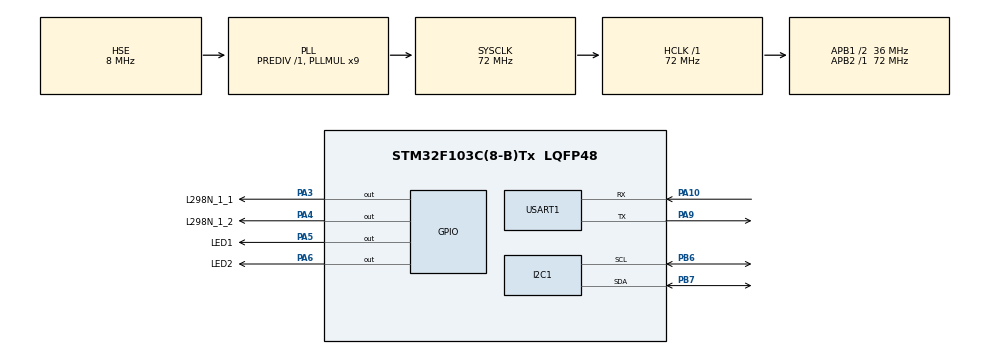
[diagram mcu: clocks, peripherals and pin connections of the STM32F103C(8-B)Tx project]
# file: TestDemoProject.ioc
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Mcu.Family=STM32F1
Mcu.Name=STM32F103C(8-B)Tx
Mcu.Package=LQFP48
NVIC.PriorityGroup=NVIC_PRIORITYGROUP_4
NVIC.USART1_IRQn=true\:0\:0\:false\:false\:true\:true\:true\:true
PA10.Mode=Asynchronous
PA10.Signal=USART1_RX
PA13.Mode=Serial_Wire
PA13.Signal=SYS_JTMS-SWDIO
PA14.Mode=Serial_Wire
PA14.Signal=SYS_JTCK-SWCLK
PA3.GPIO_Label=L298N_1_1
PA3.GPIO_PuPd=GPIO_PULLUP
PA3.Signal=GPIO_Output
PA4.GPIO_Label=L298N_1_2
PA4.GPIO_PuPd=GPIO_PULLUP
PA4.Signal=GPIO_Output
PA5.GPIO_Label=LED1
PA5.Signal=GPIO_Output
PA6.GPIO_Label=LED2
PA6.Signal=GPIO_Output
PA9.Mode=Asynchronous
PA9.Signal=USART1_TX
PB6.Mode=I2C
PB6.Signal=I2C1_SCL
PB7.Mode=I2C
PB7.Signal=I2C1_SDA
PC14-OSC32_IN.Mode=LSE-External-Oscillator
PC14-OSC32_IN.Signal=RCC_OSC32_IN
PC15-OSC32_OUT.Mode=LSE-External-Oscillator
PC15-OSC32_OUT.Signal=RCC_OSC32_OUT
PD0-OSC_IN.Mode=HSE-External-Oscillator
PD0-OSC_IN.Signal=RCC_OSC_IN
PD1-OSC_OUT.Mode=HSE-External-Oscillator
PD1-OSC_OUT.Signal=RCC_OSC_OUT
ProjectManager.HeapSize=0x200
ProjectManager.StackSize=0x400
ProjectManager.TargetToolchain=CMake
RCC.AHBFreq_Value=72000000
RCC.APB1CLKDivider=RCC_HCLK_DIV2
RCC.APB1Freq_Value=36000000
RCC.APB1TimFreq_Value=72000000
RCC.APB2Freq_Value=72000000
RCC.APB2TimFreq_Value=72000000
RCC.HCLKFreq_Value=72000000
RCC.PLLMUL=RCC_PLL_MUL9
RCC.PLLSourceVirtual=RCC_PLLSOURCE_HSE
RCC.SYSCLKFreq_VALUE=72000000
RCC.SYSCLKSource=RCC_SYSCLKSOURCE_PLLCLK
RCC.USBFreq_Value=72000000
USART1.VirtualMode=VM_ASYNC
board=custom

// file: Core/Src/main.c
/* USER CODE BEGIN Header */
/**
  ******************************************************************************
  * @file           : main.c
  * @brief          : Main program body
  ******************************************************************************
  * @attention
  *
  * Copyright (c) 2026 STMicroelectronics.
  * All rights reserved.
  *
  * This software is licensed under terms that can be found in the LICENSE file
  * in the root directory of this software component.
  * If no LICENSE file comes with this software, it is provided AS-IS.
  *
  ******************************************************************************
  */
/* USER CODE END Header */
#include "main.h"

/* USER CODE BEGIN Includes */
#include "OLED.h"
#include "Serial.h"
/* USER CODE END Includes */

/* USER CODE BEGIN PD */
#define ARROW_CENTER_X 64U
#define ARROW_CENTER_Y 32U
#define ARROW_SIZE     18U
#define SERIAL_STARTUP_IGNORE_MS 1000U

/* USER CODE END PD */

I2C_HandleTypeDef hi2c1;

UART_HandleTypeDef huart1;

/* USER CODE BEGIN PV */
static uint32_t led_tick = 0;
static uint32_t serial_start_tick = 0;

/* USER CODE END PV */

void SystemClock_Config(void);
static void MX_GPIO_Init(void);
static void MX_I2C1_Init(void);
static void MX_USART1_UART_Init(void);
/* USER CODE BEGIN PFP */
static void ProcessSerialCommand(void);
static void ShowDirectionArrow(uint8_t command);
static void SetL298N1Pins(GPIO_PinState pin_1_1, GPIO_PinState pin_1_2);

/* USER CODE END PFP */

int main(void)
{

  /* MCU Configuration--------------------------------------------------------*/

  /* Reset of all peripherals, Initializes the Flash interface and the Systick. */
  HAL_Init();

  /* Configure the system clock */
  SystemClock_Config();

  /* Initialize all configured peripherals */
  MX_GPIO_Init();
  MX_I2C1_Init();
  MX_USART1_UART_Init();
  /* USER CODE BEGIN 2 */
  OLED_Init();
  OLED_Clear();
  OLED_Update();
  Serial_Init();
  serial_start_tick = HAL_GetTick();
  Serial_SendString("USART1 ready, 115200 8N1\r\n");

  /* USER CODE END 2 */

  /* Infinite loop */
  /* USER CODE BEGIN WHILE */
  while (1)
  {
      ProcessSerialCommand();

    if ((HAL_GetTick() - led_tick) >= 500U)
    {
      led_tick = HAL_GetTick();
      HAL_GPIO_TogglePin(LED1_GPIO_Port, LED1_Pin);
      HAL_GPIO_TogglePin(LED2_GPIO_Port, LED2_Pin);
    }
    /* USER CODE END WHILE */

  }
}

void SystemClock_Config(void)
{
  RCC_OscInitTypeDef RCC_OscInitStruct = {0};
  RCC_ClkInitTypeDef RCC_ClkInitStruct = {0};

  /** Initializes the RCC Oscillators according to the specified parameters
  * in the RCC_OscInitTypeDef structure.
  */
  RCC_OscInitStruct.OscillatorType = RCC_OSCILLATORTYPE_HSE;
  RCC_OscInitStruct.HSEState = RCC_HSE_ON;
  RCC_OscInitStruct.HSEPredivValue = RCC_HSE_PREDIV_DIV1;
  RCC_OscInitStruct.HSIState = RCC_HSI_ON;
  RCC_OscInitStruct.PLL.PLLState = RCC_PLL_ON;
  RCC_OscInitStruct.PLL.PLLSource = RCC_PLLSOURCE_HSE;
  RCC_OscInitStruct.PLL.PLLMUL = RCC_PLL_MUL9;
  if (HAL_RCC_OscConfig(&RCC_OscInitStruct) != HAL_OK)
  {
    Error_Handler();
  }

  /** Initializes the CPU, AHB and APB buses clocks
  */
  RCC_ClkInitStruct.ClockType = RCC_CLOCKTYPE_HCLK|RCC_CLOCKTYPE_SYSCLK
                              |RCC_CLOCKTYPE_PCLK1|RCC_CLOCKTYPE_PCLK2;
  RCC_ClkInitStruct.SYSCLKSource = RCC_SYSCLKSOURCE_PLLCLK;
  RCC_ClkInitStruct.AHBCLKDivider = RCC_SYSCLK_DIV1;
  RCC_ClkInitStruct.APB1CLKDivider = RCC_HCLK_DIV2;
  RCC_ClkInitStruct.APB2CLKDivider = RCC_HCLK_DIV1;

  if (HAL_RCC_ClockConfig(&RCC_ClkInitStruct, FLASH_LATENCY_2) != HAL_OK)
  {
    Error_Handler();
  }
}

static void MX_I2C1_Init(void)
{

  hi2c1.Instance = I2C1;
  hi2c1.Init.ClockSpeed = 100000;
  hi2c1.Init.DutyCycle = I2C_DUTYCYCLE_2;
  hi2c1.Init.OwnAddress1 = 0;
  hi2c1.Init.AddressingMode = I2C_ADDRESSINGMODE_7BIT;
  hi2c1.Init.DualAddressMode = I2C_DUALADDRESS_DISABLE;
  hi2c1.Init.OwnAddress2 = 0;
  hi2c1.Init.GeneralCallMode = I2C_GENERALCALL_DISABLE;
  hi2c1.Init.NoStretchMode = I2C_NOSTRETCH_DISABLE;
  if (HAL_I2C_Init(&hi2c1) != HAL_OK)
  {
    Error_Handler();
  }

}

static void MX_USART1_UART_Init(void)
{

  huart1.Instance = USART1;
  huart1.Init.BaudRate = 115200;
  huart1.Init.WordLength = UART_WORDLENGTH_8B;
  huart1.Init.StopBits = UART_STOPBITS_1;
  huart1.Init.Parity = UART_PARITY_NONE;
  huart1.Init.Mode = UART_MODE_TX_RX;
  huart1.Init.HwFlowCtl = UART_HWCONTROL_NONE;
  huart1.Init.OverSampling = UART_OVERSAMPLING_16;
  if (HAL_UART_Init(&huart1) != HAL_OK)
  {
    Error_Handler();
  }

}

static void MX_GPIO_Init(void)
{
  GPIO_InitTypeDef GPIO_InitStruct = {0};

  /* GPIO Ports Clock Enable */
  __HAL_RCC_GPIOC_CLK_ENABLE();
  __HAL_RCC_GPIOD_CLK_ENABLE();
  __HAL_RCC_GPIOA_CLK_ENABLE();
  __HAL_RCC_GPIOB_CLK_ENABLE();

  /*Configure GPIO pin Output Level */
  HAL_GPIO_WritePin(GPIOA, L298N_1_1_Pin|L298N_1_2_Pin|LED1_Pin|LED2_Pin, GPIO_PIN_RESET);

  /*Configure GPIO pins : L298N_1_1_Pin L298N_1_2_Pin */
  GPIO_InitStruct.Pin = L298N_1_1_Pin|L298N_1_2_Pin;
  GPIO_InitStruct.Mode = GPIO_MODE_OUTPUT_PP;
  GPIO_InitStruct.Pull = GPIO_PULLUP;
  GPIO_InitStruct.Speed = GPIO_SPEED_FREQ_LOW;
  HAL_GPIO_Init(GPIOA, &GPIO_InitStruct);

  /*Configure GPIO pins : LED1_Pin LED2_Pin */
  GPIO_InitStruct.Pin = LED1_Pin|LED2_Pin;
  GPIO_InitStruct.Mode = GPIO_MODE_OUTPUT_PP;
  GPIO_InitStruct.Pull = GPIO_NOPULL;
  GPIO_InitStruct.Speed = GPIO_SPEED_FREQ_LOW;
  HAL_GPIO_Init(GPIOA, &GPIO_InitStruct);

}

/* USER CODE BEGIN 4 */
static void ProcessSerialCommand(void)
{
  uint8_t command;

  if ((HAL_GetTick() - serial_start_tick) < SERIAL_STARTUP_IGNORE_MS)
  {
    while (Serial_ReadByte(&command) != 0U)
    {
    }
    return;
  }

  while (Serial_ReadByte(&command) != 0U)
  {
    if ((command == '\r') || (command == '\n'))
    {
      continue;
    }

    switch (command)
    {
      case '8':
      case '4':
      case '2':
      case '6':
        ShowDirectionArrow(command);
        break;

      default:
        SetL298N1Pins(GPIO_PIN_SET, GPIO_PIN_SET);
        Serial_SendString("指令错误\r\n");
        break;
    }
  }
}

static void ShowDirectionArrow(uint8_t command)
{
  uint8_t x = ARROW_CENTER_X;
  uint8_t y = ARROW_CENTER_Y;
  uint8_t size = ARROW_SIZE;

  OLED_Clear();

  switch (command)
  {
    case '8':
      SetL298N1Pins(GPIO_PIN_SET, GPIO_PIN_RESET);
      OLED_DrawLine(x, y - size, x, y + size);
      OLED_DrawLine(x, y - size, x - 10U, y - 6U);
      OLED_DrawLine(x, y - size, x + 10U, y - 6U);
      Serial_SendString("反转-前进\r\n");
      break;

    case '4':
      OLED_DrawLine(x - size, y, x + size, y);
      OLED_DrawLine(x - size, y, x - 6U, y - 10U);
      OLED_DrawLine(x - size, y, x - 6U, y + 10U);
      Serial_SendString("LEFT\r\n");
      break;

    case '2':
      SetL298N1Pins(GPIO_PIN_RESET, GPIO_PIN_SET);
      OLED_DrawLine(x, y - size, x, y + size);
      OLED_DrawLine(x, y + size, x - 10U, y + 6U);
      OLED_DrawLine(x, y + size, x + 10U, y + 6U);
      Serial_SendString("正转-后退\r\n");
      break;

    case '6':
      OLED_DrawLine(x - size, y, x + size, y);
      OLED_DrawLine(x + size, y, x + 6U, y - 10U);
      OLED_DrawLine(x + size, y, x + 6U, y + 10U);
      Serial_SendString("RIGHT\r\n");
      break;

    default:
      break;
  }

  OLED_Update();
}

static void SetL298N1Pins(GPIO_PinState pin_1_1, GPIO_PinState pin_1_2)
{
  if (L298N_1_1_GPIO_Port == L298N_1_2_GPIO_Port)
  {
    uint32_t set_pins = 0U;
    uint32_t reset_pins = 0U;

    if (pin_1_1 == GPIO_PIN_SET)
    {
      set_pins |= L298N_1_1_Pin;
    }
    else
    {
      reset_pins |= L298N_1_1_Pin;
    }

    if (pin_1_2 == GPIO_PIN_SET)
    {
      set_pins |= L298N_1_2_Pin;
    }
    else
    {
      reset_pins |= L298N_1_2_Pin;
    }

    L298N_1_1_GPIO_Port->BSRR = set_pins | (reset_pins << 16U);
    return;
  }

  HAL_GPIO_WritePin(L298N_1_1_GPIO_Port, L298N_1_1_Pin, pin_1_1);
  HAL_GPIO_WritePin(L298N_1_2_GPIO_Port, L298N_1_2_Pin, pin_1_2);
}

/* USER CODE END 4 */

void Error_Handler(void)
{
  __disable_irq();
  while (1)
  {
  }
}
